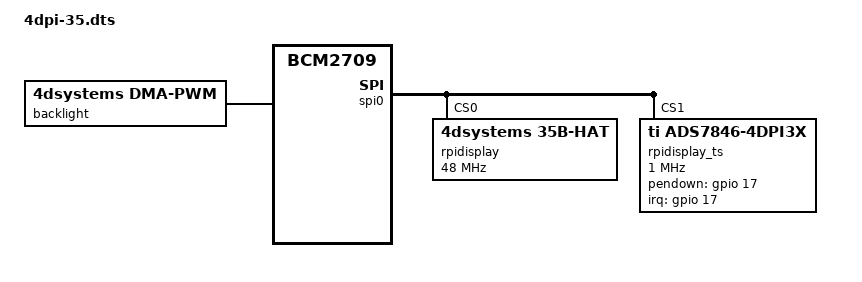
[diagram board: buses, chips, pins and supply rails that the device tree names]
/*
 * Device Tree overlay for 4DPi-35 by 4D Systems
 *
 */

/dts-v1/;
/plugin/;

/ {
	compatible = "brcm,bcm2835", "brcm,bcm2708", "brcm,bcm2709";

	fragment@0 {
		target = <&spi0>;
		__overlay__ {
                        compatible = "brcm,bcm2708-spi-dma";
			status = "okay";

			spidev@0{
				status = "disabled";
			};

			spidev@1{
				status = "disabled";
			};
		};
	};

        fragment@1 {
		target = <&spi0>;
		__overlay__ {
			/* needed to avoid dtc warning */
			#address-cells = <1>;
			#size-cells = <0>;

			rpidisplay: rpi-display@0{
                                compatible = "4dsystems,35b-hat";
				reg = <0>;


                                spi-max-frequency = <48000000>;
			address-mode-codes = /bits/ 8 <0x28 0x48 0xE8 0x88>;

                                /*
                                rotate = <0>;
                                rotate-codes = /bits/ 8 <0x03 0x05 0x00 0x06>;
                                */
                        };


                        rpidisplay_ts: rpi-display-ts@1 {
                                compatible = "ti,ads7846-4dpi3x";
                                reg = <1>;

                                spi-max-frequency = <1000000>;
                                interrupts = <17 2>; /* high-to-low edge triggered */
                                interrupt-parent = <&gpio>;
                                pendown-gpio = <&gpio 17 0>;

                                /*
                                ti,swap-xy = /bits/ 16 <0>;
                                ti,x-min = /bits/ 16 <280>;
                                ti,x-max = /bits/ 16 <3830>;
                                ti,y-min = /bits/ 16 <190>;
                                ti,y-max = /bits/ 16 <3830>;
                                */

                                ti,x-min = /bits/ 16 <320>;
                                ti,x-max = /bits/ 16 <3600>;
                                ti,y-min = /bits/ 16 <220>;
                                ti,y-max = /bits/ 16 <3400>;
                                ti,vref-delay-usecs = /bits/ 16 <100>;

                                ti,x-plate-ohms = /bits/ 16 <576>;
                                ti,y-plate-ohms = /bits/ 16 <366>;

                                ti,pressure-max = /bits/ 16 <15000>;

                                ti,debounce-max = /bits/ 16 <5>;
                                ti,debounce-rep = /bits/ 16 <1>;
                                ti,debounce-tol = /bits/ 16 <8>;
                        };
		};
	};

        fragment@2 {
                target-path = "/soc";
                __overlay__ {
                        backlight {
                                compatible = "4dsystems,dma-pwm";

                                4d,pwmbl-gpio = /bits/ 16 <18>;
                                4d,pwmbl-type = /bits/ 16 <2>;
                                4d,pwmbl-brightness = /bits/ 16 <100>;
                                4d,pwmbl-title = "4dpi-35-pwm";
                        };
                };
        };


/*        __overrides__ {
                speed =   <&rpidisplay>,"spi-max-frequency:0";
                rotate =  <&rpidisplay>,"rotate:0";
        };
*/
};
